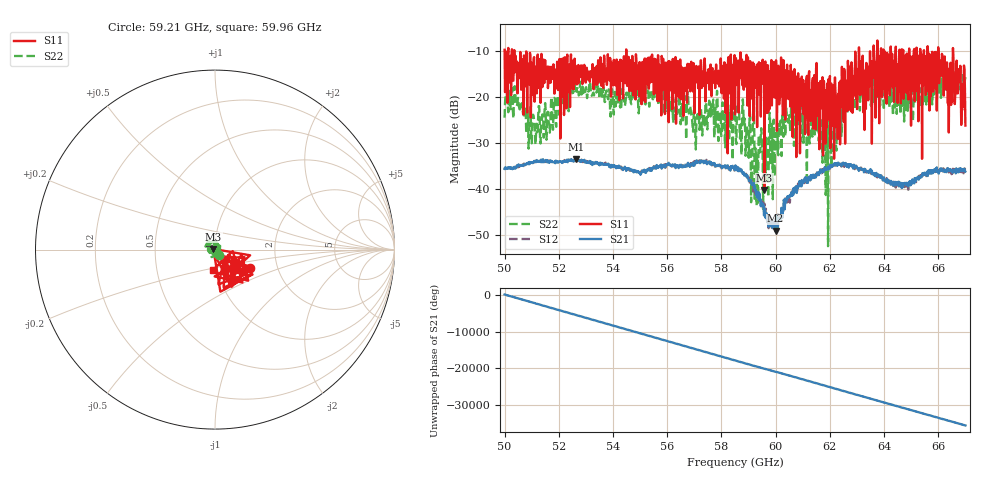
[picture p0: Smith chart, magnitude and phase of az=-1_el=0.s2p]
!Created with skrf (http://scikit-rf.org).
# GHz S RI R 50.0
!freq ReS11 ImS11 ReS21 ImS21 ReS12 ImS12 ReS22 ImS22
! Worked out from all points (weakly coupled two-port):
!   1001 points, 50 GHz to 67 GHz, reference 50 ohm
!   highest |S21| = -33.50 dB at 52.63 GHz (marker M1); lowest = -49.0 dB at 60 GHz (marker M2)
!   lowest |S11| = -40.2 dB at 59.59 GHz (marker M3), VSWR 1.02, Z = 49.1 + j0.346 ohm
!   |S11| at or under -10 dB: 50.36 GHz to 54.49 GHz (4.13 GHz wide, 7.88 % of centre); 54.49 GHz to 63.07 GHz (8.581 GHz wide, 14.6 % of centre); 63.08 GHz to 63.61 GHz (536.4 MHz wide, 0.847 % of centre) (the widest 3 of 23)
!   |S22| runs from -52.4 to -14.0 dB; largest |S21 - S12| = 0.0022
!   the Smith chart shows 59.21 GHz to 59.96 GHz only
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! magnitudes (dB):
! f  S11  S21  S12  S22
! 50 GHz  -9.8  -35.6  -35.3  -24.5
! 50.42 GHz  -13.5  -35.4  -35.3  -21.7
! 51.07 GHz  -11.8  -34.2  -34.3  -24.2
! 52.63 GHz  -15.2  -33.5  -33.7  -18.1
! 52.84 GHz  -14.2  -33.7  -33.6  -19.5
! 55.68 GHz  -13.4  -35.2  -35.2  -21.8
! 56.99 GHz  -14.9  -34.3  -34.2  -21.9
! 57.62 GHz  -15.7  -34.2  -34.4  -21.8
! 58.5 GHz  -23.8  -35.4  -35.6  -23.9
! 58.86 GHz  -17.8  -36.7  -36.9  -24.7
! 59.32 GHz  -26.6  -41.8  -41.3  -32.8
! 59.59 GHz  -40.2  -45.0  -43.2  -31.4
! 60 GHz  -20.2  -49.0  -49.2  -27.9
! 60.66 GHz  -17.1  -39.8  -40.9  -24.4
! 61.34 GHz  -24.9  -37.3  -37.4  -25.7
! 61.88 GHz  -26.7  -35.5  -35.6  -23.1
! 62.61 GHz  -20.3  -34.7  -34.6  -20.4
! 64.18 GHz  -17.7  -38.3  -38.7  -18.6
! 66.08 GHz  -14.9  -35.5  -35.8  -15.8
! 66.42 GHz  -15.5  -35.9  -35.6  -16.2
! 66.75 GHz  -16.8  -36.4  -36.2  -18.4
! 67 GHz  -26.2  -36.2  -35.9  -15.7
